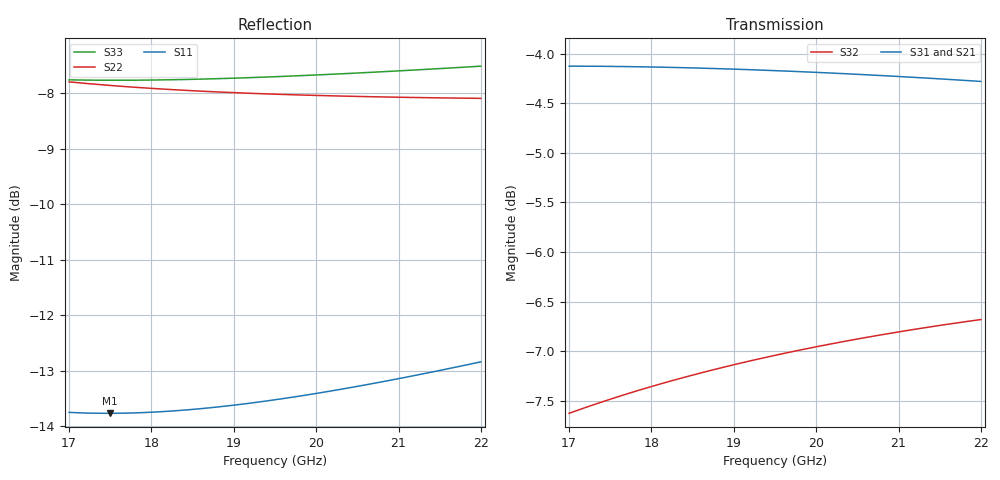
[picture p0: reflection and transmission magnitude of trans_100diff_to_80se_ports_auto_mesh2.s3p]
#  GHZ S DB R 50.0
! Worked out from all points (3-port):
!   51 points, 17 GHz to 22 GHz, reference 50 ohm
!   strongest paths, dB at 17 GHz, 18.2 GHz, 19.5 GHz, 20.8 GHz, 22 GHz:
!     S31: -4.1, -4.1, -4.2, -4.2, -4.3
!     S21: -4.2, -4.2, -4.2, -4.2, -4.2
!     S32: -7.6, -7.3, -7.0, -6.8, -6.7
!   lowest |S11| = -13.8 dB at 17.5 GHz (marker M1), VSWR 1.52, Z = 75.2 + j4.81 ohm
!   |S11| at or under -10 dB: start of sweep to end of sweep
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17  -13.75 15.1  -4.25 -173.2  -4.12 6.3
    -4.25 -173.2  -7.79 96.8  -7.63 72.8
    -4.12 6.3  -7.63 72.8  -7.76 93.9
17.5  -13.77 8.6  -4.23 -176.8  -4.13 2.8
      -4.23 -176.8  -7.86 92.0  -7.49 69.3
      -4.13 2.8  -7.49 69.3  -7.76 89.3
18  -13.75 2.5  -4.21 179.7  -4.13 -0.5
    -4.21 179.7  -7.91 87.5  -7.36 66.0
    -4.13 -0.5  -7.36 66.0  -7.76 85.0
18.5  -13.70 -3.3  -4.19 176.3  -4.14 -3.8
      -4.19 176.3  -7.95 83.3  -7.24 62.8
      -4.14 -3.8  -7.24 62.8  -7.75 80.9
19  -13.62 -8.8  -4.18 173.0  -4.15 -6.9
    -4.18 173.0  -7.99 79.3  -7.14 59.8
    -4.15 -6.9  -7.14 59.8  -7.73 77.1
19.5  -13.53 -14.0  -4.17 169.7  -4.17 -10.0
      -4.17 169.7  -8.01 75.6  -7.04 56.8
      -4.17 -10.0  -7.04 56.8  -7.70 73.5
20.1  -13.39 -19.8  -4.16 166.0  -4.19 -13.6
      -4.16 166.0  -8.04 71.4  -6.94 53.5
      -4.19 -13.6  -6.94 53.5  -7.66 69.4
20.7  -13.23 -25.3  -4.16 162.3  -4.22 -17.0
      -4.16 162.3  -8.06 67.5  -6.85 50.2
      -4.22 -17.0  -6.85 50.2  -7.62 65.7
21.3  -13.06 -30.4  -4.16 158.7  -4.24 -20.4
      -4.16 158.7  -8.08 63.9  -6.77 47.1
      -4.24 -20.4  -6.77 47.1  -7.57 62.1
22  -12.84 -36.0  -4.16 154.6  -4.28 -24.3
    -4.16 154.6  -8.09 59.9  -6.68 43.6
    -4.28 -24.3  -6.68 43.6  -7.51 58.3
